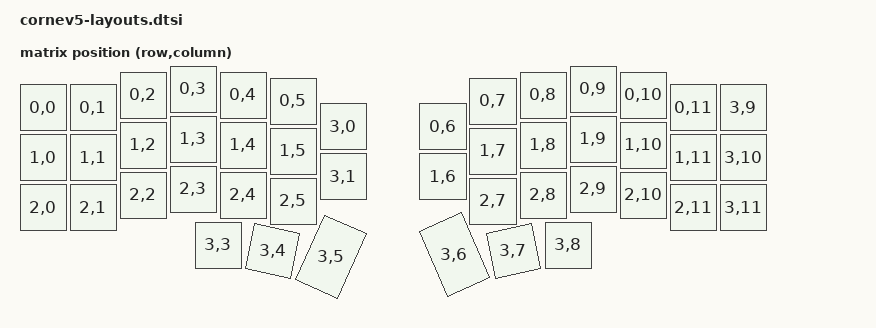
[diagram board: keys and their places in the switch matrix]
#include <physical_layouts.dtsi>
#include <dt-bindings/zmk/matrix_transform.h>

/ {
    default_transform: keymap_transform_46 {
        compatible = "zmk,matrix-transform";
        columns = <12>;
        rows = <4>;
// | SW1  | SW2  | SW3  | SW4  | SW5  | SW6  |             | SW6  | SW5  | SW4  | SW3  | SW2  | SW1  |
// | SW7  | SW8  | SW9  | SW10 | SW11 | SW12 |             | SW12 | SW11 | SW10 | SW9  | SW8  | SW7  |
// | SW13 | SW14 | SW15 | SW16 | SW17 | SW18 | SW19 | SW19 | SW18 | SW17 | SW16 | SW15 | SW14 | SW13 |
// | SW19 | SW20 | SW21 | SW22 | SW23 | SW24 |             | SW24 | SW23 | SW22 | SW21 | SW20 | SW19 |
        map = <
            RC(0,0)  RC(0,1)  RC(0,2)  RC(0,3)  RC(0,4)  RC(0,5)  RC(3,0)  RC(0,6)  RC(0,7)  RC(0,8)  RC(0,9)  RC(0,10) RC(0,11) RC(3,9)
            RC(1,0)  RC(1,1)  RC(1,2)  RC(1,3)  RC(1,4)  RC(1,5)  RC(3,1)  RC(1,6)  RC(1,7)  RC(1,8)  RC(1,9)  RC(1,10) RC(1,11) RC(3,10)
            RC(2,0)  RC(2,1)  RC(2,2)  RC(2,3)  RC(2,4)  RC(2,5)                    RC(2,7)  RC(2,8)  RC(2,9)  RC(2,10) RC(2,11) RC(3,11)
                                       RC(3,3)  RC(3,4)  RC(3,5)                    RC(3,6)  RC(3,7)  RC(3,8)
        >;
    };

    layout_46: layout_46 {
        compatible = "zmk,physical-layout";
        display-name = "LAYOUT_46";

        transform = <&default_transform>;

       keys  //                     w   h    x    y     rot    rx    ry
            = <&key_physical_attrs 100 100    0   37       0     0     0>
            , <&key_physical_attrs 100 100  100   37       0     0     0>
            , <&key_physical_attrs 100 100  200   12       0     0     0>
            , <&key_physical_attrs 100 100  300    0       0     0     0>
            , <&key_physical_attrs 100 100  400   12       0     0     0>
            , <&key_physical_attrs 100 100  500   24       0     0     0>
            , <&key_physical_attrs 100 100  600   75       0     0     0>
            , <&key_physical_attrs 100 100  800   75       0     0     0>
            , <&key_physical_attrs 100 100  900   24       0     0     0>
            , <&key_physical_attrs 100 100 1000   12       0     0     0>
            , <&key_physical_attrs 100 100 1100    0       0     0     0>
            , <&key_physical_attrs 100 100 1200   12       0     0     0>
            , <&key_physical_attrs 100 100 1300   37       0     0     0>
            , <&key_physical_attrs 100 100 1400   37       0     0     0>
            , <&key_physical_attrs 100 100    0  137       0     0     0>
            , <&key_physical_attrs 100 100  100  137       0     0     0>
            , <&key_physical_attrs 100 100  200  112       0     0     0>
            , <&key_physical_attrs 100 100  300  100       0     0     0>
            , <&key_physical_attrs 100 100  400  112       0     0     0>
            , <&key_physical_attrs 100 100  500  124       0     0     0>
            , <&key_physical_attrs 100 100  600  175       0     0     0>
            , <&key_physical_attrs 100 100  800  175       0     0     0>
            , <&key_physical_attrs 100 100  900  124       0     0     0>
            , <&key_physical_attrs 100 100 1000  112       0     0     0>
            , <&key_physical_attrs 100 100 1100  100       0     0     0>
            , <&key_physical_attrs 100 100 1200  112       0     0     0>
            , <&key_physical_attrs 100 100 1300  137       0     0     0>
            , <&key_physical_attrs 100 100 1400  137       0     0     0>
            , <&key_physical_attrs 100 100    0  237       0     0     0>
            , <&key_physical_attrs 100 100  100  237       0     0     0>
            , <&key_physical_attrs 100 100  200  212       0     0     0>
            , <&key_physical_attrs 100 100  300  200       0     0     0>
            , <&key_physical_attrs 100 100  400  212       0     0     0>
            , <&key_physical_attrs 100 100  500  224       0     0     0>
            , <&key_physical_attrs 100 100  900  224       0     0     0>
            , <&key_physical_attrs 100 100 1000  212       0     0     0>
            , <&key_physical_attrs 100 100 1100  200       0     0     0>
            , <&key_physical_attrs 100 100 1200  212       0     0     0>
            , <&key_physical_attrs 100 100 1300  237       0     0     0>
            , <&key_physical_attrs 100 100 1400  237       0     0     0>
            , <&key_physical_attrs 100 100  350  312       0     0     0>
            , <&key_physical_attrs 100 100  450  312    1200   450   412>
            , <&key_physical_attrs 100 150  550  283    2400   548   433>
            , <&key_physical_attrs 100 150  850  283 (-2400)   940   433>
            , <&key_physical_attrs 100 100  950  312 (-1200)  1050   412>
            , <&key_physical_attrs 100 100 1050  312       0     0     0>
            ;
    };

    position_map {
        compatible = "zmk,physical-layout-position-map";

        layout_46 {
            physical-layout = <&layout_46>;
            positions
                = < 0  1  2  3  4  5  6     7  8  9  10 11 12 13>
                , < 14 15 16 17 18 19 20    21 22 23 24 25 26 27>
                , < 28 29 30 31 32 33          34 35 36 37 38 39>
                , <          40 41 42       43 44 45>
                ;
        };

    };
};
